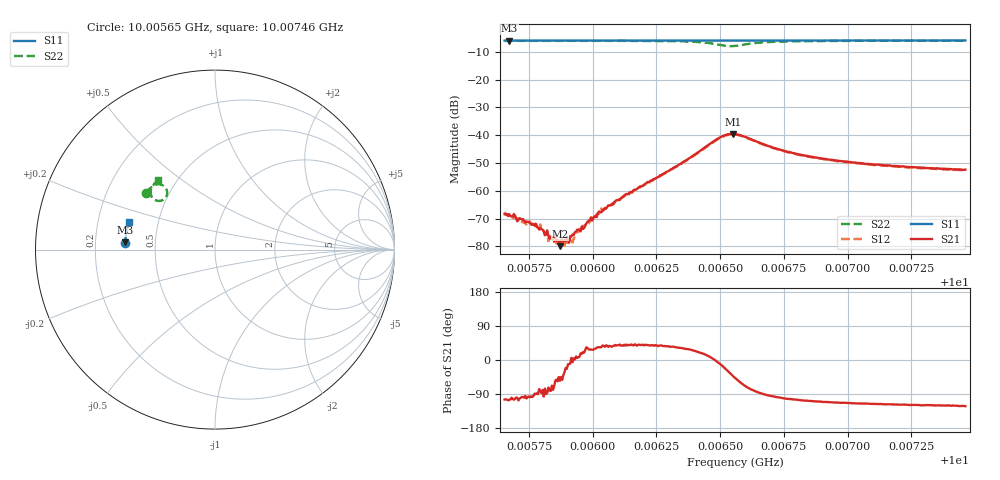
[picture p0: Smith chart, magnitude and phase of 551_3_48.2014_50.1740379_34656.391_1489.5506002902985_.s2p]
#  HZ  S  RI  R  50.00
! Rohde & Schwarz Vector Network Analyzer
! Rohde-Schwarz,ZNB20-2Port,1311601062101988,3.16
! Created: UTC 3/20/2024, 12:00:48 PM
! freq[Hz]  re:S11  im:S11  re:S21  im:S21  re:S12  im:S12  re:S22  im:S22
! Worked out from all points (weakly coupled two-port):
!   401 points, 10.00565 GHz to 10.00746 GHz, reference 50 ohm
!   highest |S21| = -39.54 dB at 10.00655 GHz (marker M1); lowest = -79.9 dB at 10.00587 GHz (marker M2)
!   lowest |S11| = -6.0 dB at 10.00567 GHz (marker M3), VSWR 3.01, Z = 16.6 + j1.78 ohm
!   |S11| at or under -10 dB: nowhere
!   |S22| runs from -8.0 to -6.0 dB; largest |S21 - S12| = 0.00066
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1.0005654e10  -0.5 0.0389  -9.21e-05 -0.000368  -8.15e-05 -0.000408  -0.3841 0.3153
1.0005672e10  -0.4999 0.0401  -9.75e-05 -0.00036  -6.84e-05 -0.000374  -0.3834 0.3164
1.0005731e10  -0.4999 0.0439  -4.86e-05 -0.000285  -2.73e-05 -0.000261  -0.3806 0.32
1.0005771e10  -0.4996 0.0466  5.85e-06 -0.000235  3.31e-05 -0.000277  -0.3787 0.3224
1.0005803e10  -0.4995 0.0487  3.84e-05 -0.000196  3.15e-05 -0.000189  -0.3771 0.3244
1.0005826e10  -0.4993 0.0502  4.58e-05 -0.000146  2.47e-05 -0.000122  -0.3759 0.3257
1.0005871e10  -0.4991 0.0531  5.78e-05 -8.23e-05  5.59e-05 -0.000103  -0.3735 0.3286
1.0005898e10  -0.4989 0.0549  0.000133 -5.75e-05  0.00011 -3.64e-05  -0.3719 0.3304
1.0005921e10  -0.4989 0.0563  0.000162 -1.7e-05  0.000117 2.75e-06  -0.3707 0.3318
1.0005943e10  -0.4988 0.0579  0.000199 2.5e-05  0.000167 7.44e-05  -0.3695 0.3334
1.0005957e10  -0.4987 0.0585  0.000218 6.39e-05  0.000177 5.39e-05  -0.3686 0.3342
1.0005984e10  -0.4985 0.0604  0.000257 0.000137  0.000216 0.000142  -0.3668 0.3359
1.0006038e10  -0.4981 0.0639  0.000349 0.000276  0.000366 0.000261  -0.3633 0.3395
1.0006124e10  -0.4976 0.0696  0.000625 0.000536  0.000584 0.000548  -0.3567 0.3458
1.000626e10  -0.4964 0.0782  0.00141 0.0011  0.00134 0.00114  -0.3421 0.3561
1.000649e10  -0.4936 0.093  0.00859 -0.000852  0.00843 -0.000346  -0.2691 0.3328
1.0006549e10  -0.4931 0.096  0.00787 -0.00702  0.00811 -0.00643  -0.2867 0.2788
1.0006558e10  -0.4928 0.0966  0.00709 -0.00769  0.00737 -0.00717  -0.2952 0.2742
1.0006735e10  -0.4919 0.1079  -0.000871 -0.00543  -0.000649 -0.00533  -0.3586 0.3219
1.0006861e10  -0.4903 0.1162  -0.00129 -0.00385  -0.00113 -0.00383  -0.353 0.3436
1.0007164e10  -0.4861 0.1352  -0.00128 -0.00255  -0.00114 -0.00254  -0.3357 0.3693
1.0007463e10  -0.4811 0.154  -0.00127 -0.00204  -0.0011 -0.00207  -0.3196 0.3862
